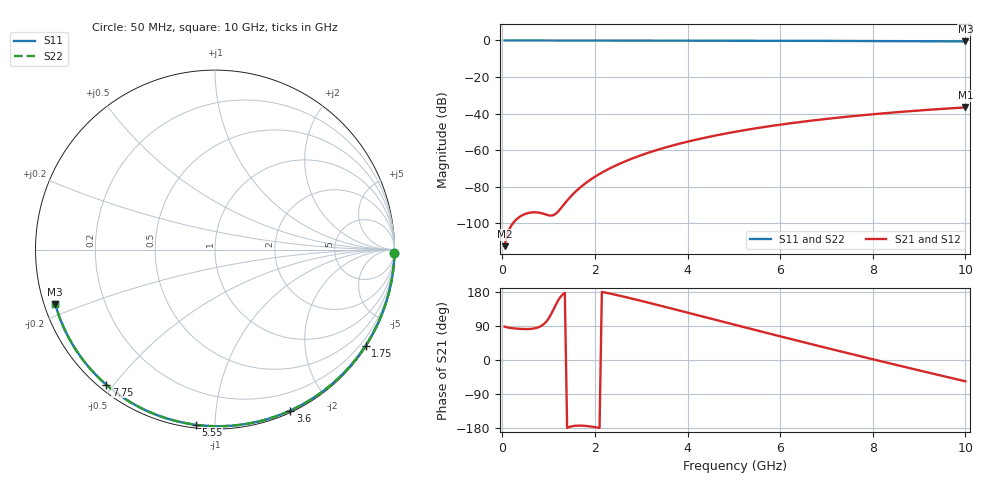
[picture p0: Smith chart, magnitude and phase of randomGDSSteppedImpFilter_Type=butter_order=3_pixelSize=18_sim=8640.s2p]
! freq	dB(S11)	phase(S11)	dB(S12)	phase(S12)
!  dB(S21)	phase(S21)	dB(S22)	phase(S22)
!S-par simulation data
#  GHz  S  DB  R 50
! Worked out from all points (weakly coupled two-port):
!   200 points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, 50 MHz to 10 GHz, reference 50 ohm
!   highest |S21| = -36.59 dB at 10 GHz (marker M1); lowest = -112.4 dB at 50 MHz (marker M2)
!   lowest |S11| = -0.5 dB at 10 GHz (marker M3), VSWR 32.52, Z = 1.58 - j8.25 ohm
!   |S11| at or under -10 dB: nowhere
!   |S22| runs from -0.5 to 0.0 dB; largest |S21 - S12| = 0
!   S11 on the Smith chart (normalised r, x): 50 MHz: open; 1.75 GHz: 0.03, -3.43; 3.6 GHz: 0.02, -1.57; 5.55 GHz: 0.02, -0.90; 7.75 GHz: 0.02, -0.48; 10 GHz: 0.03, -0.17
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0.05  -0.00 -0.9  -112.39 88.0  -112.39 88.0  -0.00 -0.9
0.45  -0.01 -8.5  -95.28 81.8  -95.28 81.8  -0.01 -8.5
0.85  -0.02 -16.0  -94.40 90.6  -94.40 90.6  -0.02 -16.0
1.65  -0.04 -30.7  -81.03 -173.1  -81.03 -173.1  -0.04 -30.7
1.7  -0.04 -31.6  -79.95 -173.2  -79.95 -173.2  -0.04 -31.6
1.75  -0.04 -32.5  -78.92 -173.5  -78.92 -173.5  -0.04 -32.5
1.9  -0.04 -35.2  -76.13 -175.3  -76.13 -175.3  -0.04 -35.2
2.05  -0.05 -37.9  -73.68 -178.1  -73.68 -178.1  -0.05 -37.9
2.25  -0.05 -41.5  -70.82 177.2  -70.82 177.2  -0.05 -41.5
2.45  -0.06 -45.1  -68.32 172.0  -68.32 172.0  -0.06 -45.1
2.9  -0.07 -53.0  -63.59 159.1  -63.59 159.1  -0.07 -53.0
3.4  -0.08 -61.6  -59.39 143.8  -59.39 143.8  -0.08 -61.6
3.6  -0.09 -64.9  -57.93 137.6  -57.93 137.6  -0.09 -64.9
4.3  -0.11 -76.5  -53.55 115.6  -53.55 115.6  -0.11 -76.5
5.05  -0.14 -88.5  -49.80 92.0  -49.80 92.0  -0.14 -88.5
5.55  -0.16 -96.3  -47.70 76.4  -47.70 76.4  -0.16 -96.3
6.1  -0.19 -104.7  -45.67 59.4  -45.67 59.4  -0.19 -104.7
6.7  -0.22 -113.6  -43.74 41.0  -43.74 41.0  -0.22 -113.6
7.75  -0.30 -128.8  -40.91 9.4  -40.91 9.4  -0.30 -128.8
8.35  -0.35 -137.4  -39.55 -8.4  -39.55 -8.4  -0.35 -137.4
9.2  -0.44 -149.6  -37.89 -33.2  -37.89 -33.2  -0.44 -149.6
10  -0.53 -161.2  -36.59 -56.3  -36.59 -56.3  -0.53 -161.2
